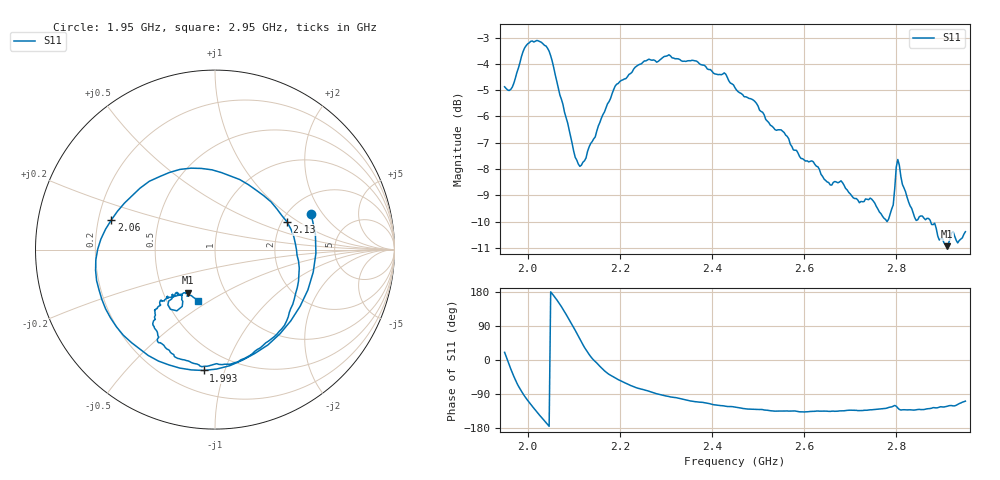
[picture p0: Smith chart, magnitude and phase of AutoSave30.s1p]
!Agilent N9923A: A.07.32
!Date: Thursday, 02 June 2016 22:55:05
!Model: N9923A
!Serial: MY52412257
!GPS Latitude:
!GPS Longitude:
!GPS TimeStamp: 0001-01-01 00:00:00Z
!GPS Seconds Since Last Read: 0
!CHECKSUM:0653339190
!Correction: S11(ON U)
!S1P File: Measurement: S11:
# Hz S DB R 50
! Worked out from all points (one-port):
!   301 points, 1.95 GHz to 2.95 GHz, reference 50 ohm
!   lowest |S11| = -10.9 dB at 2.91 GHz (marker M1), VSWR 1.79, Z = 33.2 - j17.3 ohm
!   |S11| at or under -10 dB: 2.779984 GHz to 2.780014 GHz (29.83 kHz wide, 0.00107 % of centre); 2.874 GHz to end of sweep
!   S11 on the Smith chart (normalised r, x): 1.95 GHz: 2.65, +1.55; 1.993 GHz: 0.34, -0.85; 2.06 GHz: 0.25, +0.13; 2.13 GHz: 2.13, +0.81; 2.95 GHz: 0.71, -0.45
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1.95e9  -4.87 20.2
1.96e9  -5.01 -12.9
1.973333e9  -4.55 -52.3
1.983333e9  -3.95 -75.9
1.993333e9  -3.40 -95.3
2.006667e9  -3.14 -116.8
2.03e9  -3.18 -151.5
2.046667e9  -3.52 -175.0
2.06e9  -4.43 164.0
2.076667e9  -5.55 133.8
2.096667e9  -7.04 92.1
2.113333e9  -7.90 55.2
2.13e9  -7.33 21.1
2.16e9  -6.07 -20.6
2.203333e9  -4.63 -55.9
2.253333e9  -3.89 -79.0
2.326667e9  -3.81 -100.6
2.403333e9  -4.36 -117.9
2.453333e9  -5.00 -124.7
2.576667e9  -7.27 -134.6
2.703333e9  -9.02 -132.4
2.78e9  -10.00 -126.8
2.793333e9  -9.37 -121.9
2.8e9  -7.92 -121.9
2.806667e9  -7.86 -130.5
2.826667e9  -9.25 -131.6
2.91e9  -10.93 -122.3
2.95e9  -10.38 -108.6
